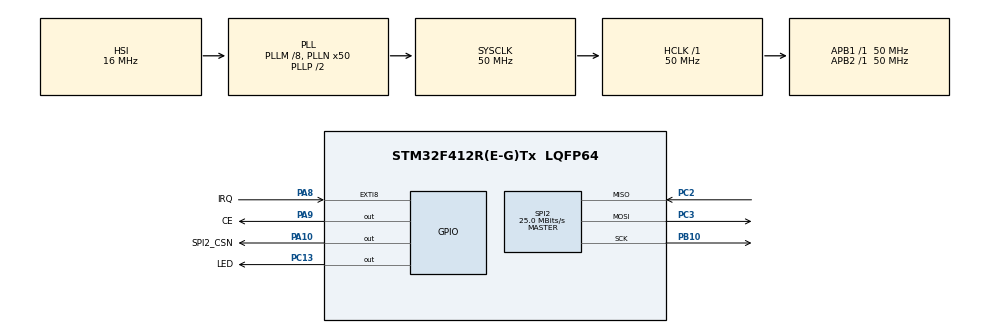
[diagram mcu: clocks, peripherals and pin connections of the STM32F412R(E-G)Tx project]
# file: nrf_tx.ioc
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Mcu.Family=STM32F4
Mcu.Name=STM32F412R(E-G)Tx
Mcu.Package=LQFP64
NVIC.EXTI9_5_IRQn=true\:0\:0\:false\:false\:true\:true\:true\:true
NVIC.PriorityGroup=NVIC_PRIORITYGROUP_4
PA10.GPIO_Label=SPI2_CSN
PA10.GPIO_Speed=GPIO_SPEED_FREQ_HIGH
PA10.PinState=GPIO_PIN_SET
PA10.Signal=GPIO_Output
PA8.GPIO_Label=IRQ
PA8.GPIO_ModeDefaultEXTI=GPIO_MODE_IT_FALLING
PA8.Signal=GPXTI8
PA9.GPIO_Label=CE
PA9.Signal=GPIO_Output
PB10.Mode=Full_Duplex_Master
PB10.Signal=SPI2_SCK
PC13.GPIO_Label=LED
PC13.PinState=GPIO_PIN_SET
PC13.Signal=GPIO_Output
PC14-OSC32_IN.Mode=LSE-External-Oscillator
PC14-OSC32_IN.Signal=RCC_OSC32_IN
PC15-OSC32_OUT.Mode=LSE-External-Oscillator
PC15-OSC32_OUT.Signal=RCC_OSC32_OUT
PC2.Mode=Full_Duplex_Master
PC2.Signal=SPI2_MISO
PC3.Mode=Full_Duplex_Master
PC3.Signal=SPI2_MOSI
PH0\ -\ OSC_IN.Mode=HSE-External-Oscillator
PH0\ -\ OSC_IN.Signal=RCC_OSC_IN
PH1\ -\ OSC_OUT.Mode=HSE-External-Oscillator
PH1\ -\ OSC_OUT.Signal=RCC_OSC_OUT
ProjectManager.HeapSize=0x200
ProjectManager.StackSize=0x400
ProjectManager.TargetToolchain=STM32CubeIDE
RCC.AHBFreq_Value=50000000
RCC.APB1Freq_Value=50000000
RCC.APB1TimFreq_Value=50000000
RCC.APB2Freq_Value=50000000
RCC.APB2TimFreq_Value=50000000
RCC.CortexFreq_Value=50000000
RCC.HCLKFreq_Value=50000000
RCC.PLLM=8
RCC.PLLN=50
RCC.SYSCLKFreq_VALUE=50000000
RCC.SYSCLKSource=RCC_SYSCLKSOURCE_PLLCLK
RCC.USBFreq_Value=50000000
RCC.VCOOutputFreq_Value=100000000
SPI2.BaudRatePrescaler=SPI_BAUDRATEPRESCALER_2
SPI2.CalculateBaudRate=25.0 MBits/s
SPI2.Direction=SPI_DIRECTION_2LINES
SPI2.Mode=SPI_MODE_MASTER
SPI2.VirtualType=VM_MASTER
board=custom

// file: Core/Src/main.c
/* USER CODE BEGIN Header */
/**
  ******************************************************************************
  * @file           : main.c
  * @brief          : Main program body
  ******************************************************************************
  * @attention
  *
  * Copyright (c) 2025 STMicroelectronics.
  * All rights reserved.
  *
  * This software is licensed under terms that can be found in the LICENSE file
  * in the root directory of this software component.
  * If no LICENSE file comes with this software, it is provided AS-IS.
  *
  ******************************************************************************
  */
/* USER CODE END Header */
#include "main.h"

/* USER CODE BEGIN Includes */
#include "nrf_tx.h"
/* USER CODE END Includes */

/* USER CODE BEGIN PD */
#include <stdbool.h>

/* User Configurations */
#define NRF24L01P_SPI                     (&hspi2)

#define NRF24L01P_SPI_CS_PIN_PORT         GPIOA
#define NRF24L01P_SPI_CS_PIN_NUMBER       GPIO_PIN_10

#define NRF24L01P_CE_PIN_PORT             GPIOA
#define NRF24L01P_CE_PIN_NUMBER           GPIO_PIN_9

#define NRF24L01P_IRQ_PIN_PORT            GPIOA
#define NRF24L01P_IRQ_PIN_NUMBER          GPIO_PIN_8

#define NRF24L01P_PAYLOAD_LENGTH          8     // 1 - 32bytes

/* nRF24L01+ typedefs */
typedef uint8_t count;
typedef uint8_t widths;
typedef uint8_t length;
typedef uint16_t delay;
typedef uint16_t channel;

typedef enum
{
    _250kbps = 2,
    _1Mbps   = 0,
    _2Mbps   = 1
} air_data_rate;

typedef enum
{
    _0dBm  = 3,
    _6dBm  = 2,
    _12dBm = 1,
    _18dBm = 0
} output_power;
/* nRF24L01+ Commands */
#define NRF24L01P_CMD_R_REGISTER                  0b00000000
#define NRF24L01P_CMD_W_REGISTER                  0b00100000
#define NRF24L01P_CMD_R_RX_PAYLOAD                0b01100001
#define NRF24L01P_CMD_W_TX_PAYLOAD                0b10100000
#define NRF24L01P_CMD_FLUSH_TX                    0b11100001
#define NRF24L01P_CMD_FLUSH_RX                    0b11100010
#define NRF24L01P_CMD_REUSE_TX_PL                 0b11100011
#define NRF24L01P_CMD_R_RX_PL_WID                 0b01100000
#define NRF24L01P_CMD_W_ACK_PAYLOAD               0b10101000
#define NRF24L01P_CMD_W_TX_PAYLOAD_NOACK          0b10110000
#define NRF24L01P_CMD_NOP                         0b11111111

/* nRF24L01+ Registers */
#define NRF24L01P_REG_CONFIG            0x00
#define NRF24L01P_REG_EN_AA             0x01
#define NRF24L01P_REG_EN_RXADDR         0x02
#define NRF24L01P_REG_SETUP_AW          0x03
#define NRF24L01P_REG_SETUP_RETR        0x04
#define NRF24L01P_REG_RF_CH             0x05
#define NRF24L01P_REG_RF_SETUP          0x06
#define NRF24L01P_REG_STATUS            0x07
#define NRF24L01P_REG_OBSERVE_TX        0x08    // Read-Only
#define NRF24L01P_REG_RPD               0x09    // Read-Only
#define NRF24L01P_REG_RX_ADDR_P0        0x0A
#define NRF24L01P_REG_RX_ADDR_P1        0x0B
#define NRF24L01P_REG_RX_ADDR_P2        0x0C
#define NRF24L01P_REG_RX_ADDR_P3        0x0D
#define NRF24L01P_REG_RX_ADDR_P4        0x0E
#define NRF24L01P_REG_RX_ADDR_P5        0x0F
#define NRF24L01P_REG_TX_ADDR           0x10
#define NRF24L01P_REG_RX_PW_P0          0x11
#define NRF24L01P_REG_RX_PW_P1          0x12
#define NRF24L01P_REG_RX_PW_P2          0x13
#define NRF24L01P_REG_RX_PW_P3          0x14
#define NRF24L01P_REG_RX_PW_P4          0x15
#define NRF24L01P_REG_RX_PW_P5          0x16
#define NRF24L01P_REG_FIFO_STATUS       0x17
#define NRF24L01P_REG_DYNPD             0x1C
#define NRF24L01P_REG_FEATURE           0x1D

/* USER CODE END PD */

SPI_HandleTypeDef hspi2;
uint8_t tx_data[8] = {0,1,2,3,4,5,6,7};

void SystemClock_Config(void);
static void MX_GPIO_Init(void);
static void MX_SPI2_Init(void);

/* USER CODE BEGIN PFP */
void HAL_GPIO_EXTI_Callback(uint16_t GPIO_Pin);
/* Low-level nRF24L01+ SPI helpers */
static void cs_high(void);
static void cs_low(void);
static void ce_high(void);
static void ce_low(void);
static uint8_t read_register(uint8_t reg);
static uint8_t write_register(uint8_t reg, uint8_t value);

/* nRF24L01+ sub functions (defined later) */
void     nrf24l01p_reset(void);
void     nrf24l01p_prx_mode(void);
void     nrf24l01p_ptx_mode(void);
uint8_t  nrf24l01p_read_rx_fifo(uint8_t* rx_payload);
uint8_t  nrf24l01p_write_tx_fifo(const uint8_t* tx_payload);
void     nrf24l01p_flush_rx_fifo(void);
void     nrf24l01p_flush_tx_fifo(void);
uint8_t  nrf24l01p_get_status(void);
uint8_t  nrf24l01p_get_fifo_status(void);
void     nrf24l01p_rx_set_payload_widths(widths bytes);
void     nrf24l01p_clear_rx_dr(void);
void     nrf24l01p_clear_tx_ds(void);
void     nrf24l01p_clear_max_rt(void);
void     nrf24l01p_power_up(void);
void     nrf24l01p_power_down(void);
void     nrf24l01p_set_crc_length(length bytes);
void     nrf24l01p_set_address_widths(widths bytes);
void     nrf24l01p_auto_retransmit_count(count cnt);
void     nrf24l01p_auto_retransmit_delay(delay us);
void     nrf24l01p_set_rf_channel(channel MHz);
void     nrf24l01p_set_rf_tx_output_power(output_power dBm);
void     nrf24l01p_set_rf_air_data_rate(air_data_rate bps);

/* public APIs you call from main */
void     nrf24l01p_rx_init(channel MHz, air_data_rate bps);
void     nrf24l01p_tx_init(channel MHz, air_data_rate bps);
void     nrf24l01p_rx_receive(uint8_t* rx_payload);
void     nrf24l01p_tx_transmit(uint8_t* tx_payload);
void     nrf24l01p_tx_irq(void);

/* USER CODE END PFP */

int main(void)
{

  /* MCU Configuration--------------------------------------------------------*/

  /* Reset of all peripherals, Initializes the Flash interface and the Systick. */
  HAL_Init();

  /* Configure the system clock */
  SystemClock_Config();

  /* Initialize all configured peripherals */
  MX_GPIO_Init();
  MX_SPI2_Init();
  /* USER CODE BEGIN 2 */
  nrf24l01p_tx_init(2500, _1Mbps);
  /* USER CODE END 2 */

  /* Infinite loop */
  while (1)
  {

    /* USER CODE BEGIN 3 */
	for(int i = 0; i < 8; i++){
		tx_data[i]++;
	}

	nrf24l01p_tx_transmit(tx_data);
	HAL_Delay(100);
  }
  /* USER CODE END 3 */
}

void SystemClock_Config(void)
{
  RCC_OscInitTypeDef RCC_OscInitStruct = {0};
  RCC_ClkInitTypeDef RCC_ClkInitStruct = {0};

  /** Configure the main internal regulator output voltage
  */
  __HAL_RCC_PWR_CLK_ENABLE();
  __HAL_PWR_VOLTAGESCALING_CONFIG(PWR_REGULATOR_VOLTAGE_SCALE1);

  /** Initializes the RCC Oscillators according to the specified parameters
  * in the RCC_OscInitTypeDef structure.
  */
  RCC_OscInitStruct.OscillatorType = RCC_OSCILLATORTYPE_HSI;
  RCC_OscInitStruct.HSIState = RCC_HSI_ON;
  RCC_OscInitStruct.HSICalibrationValue = RCC_HSICALIBRATION_DEFAULT;
  RCC_OscInitStruct.PLL.PLLState = RCC_PLL_ON;
  RCC_OscInitStruct.PLL.PLLSource = RCC_PLLSOURCE_HSI;
  RCC_OscInitStruct.PLL.PLLM = 8;
  RCC_OscInitStruct.PLL.PLLN = 50;
  RCC_OscInitStruct.PLL.PLLP = RCC_PLLP_DIV2;
  RCC_OscInitStruct.PLL.PLLQ = 2;
  RCC_OscInitStruct.PLL.PLLR = 2;
  if (HAL_RCC_OscConfig(&RCC_OscInitStruct) != HAL_OK)
  {
    Error_Handler();
  }

  /** Initializes the CPU, AHB and APB buses clocks
  */
  RCC_ClkInitStruct.ClockType = RCC_CLOCKTYPE_HCLK|RCC_CLOCKTYPE_SYSCLK
                              |RCC_CLOCKTYPE_PCLK1|RCC_CLOCKTYPE_PCLK2;
  RCC_ClkInitStruct.SYSCLKSource = RCC_SYSCLKSOURCE_PLLCLK;
  RCC_ClkInitStruct.AHBCLKDivider = RCC_SYSCLK_DIV1;
  RCC_ClkInitStruct.APB1CLKDivider = RCC_HCLK_DIV1;
  RCC_ClkInitStruct.APB2CLKDivider = RCC_HCLK_DIV1;

  if (HAL_RCC_ClockConfig(&RCC_ClkInitStruct, FLASH_LATENCY_1) != HAL_OK)
  {
    Error_Handler();
  }
}

static void MX_SPI2_Init(void)
{

  /* SPI2 parameter configuration*/
  hspi2.Instance = SPI2;
  hspi2.Init.Mode = SPI_MODE_MASTER;
  hspi2.Init.Direction = SPI_DIRECTION_2LINES;
  hspi2.Init.DataSize = SPI_DATASIZE_8BIT;
  hspi2.Init.CLKPolarity = SPI_POLARITY_LOW;
  hspi2.Init.CLKPhase = SPI_PHASE_1EDGE;
  hspi2.Init.NSS = SPI_NSS_SOFT;
  hspi2.Init.BaudRatePrescaler = SPI_BAUDRATEPRESCALER_2;
  hspi2.Init.FirstBit = SPI_FIRSTBIT_MSB;
  hspi2.Init.TIMode = SPI_TIMODE_DISABLE;
  hspi2.Init.CRCCalculation = SPI_CRCCALCULATION_DISABLE;
  hspi2.Init.CRCPolynomial = 10;
  if (HAL_SPI_Init(&hspi2) != HAL_OK)
  {
    Error_Handler();
  }

}

static void MX_GPIO_Init(void)
{
  GPIO_InitTypeDef GPIO_InitStruct = {0};

  /* GPIO Ports Clock Enable */
  __HAL_RCC_GPIOC_CLK_ENABLE();
  __HAL_RCC_GPIOH_CLK_ENABLE();
  __HAL_RCC_GPIOB_CLK_ENABLE();
  __HAL_RCC_GPIOA_CLK_ENABLE();

  /*Configure GPIO pin Output Level */
  HAL_GPIO_WritePin(LED_GPIO_Port, LED_Pin, GPIO_PIN_SET);

  /*Configure GPIO pin Output Level */
  HAL_GPIO_WritePin(CE_GPIO_Port, CE_Pin, GPIO_PIN_RESET);

  /*Configure GPIO pin Output Level */
  HAL_GPIO_WritePin(SPI2_CSN_GPIO_Port, SPI2_CSN_Pin, GPIO_PIN_SET);

  /*Configure GPIO pin : LED_Pin */
  GPIO_InitStruct.Pin = LED_Pin;
  GPIO_InitStruct.Mode = GPIO_MODE_OUTPUT_PP;
  GPIO_InitStruct.Pull = GPIO_NOPULL;
  GPIO_InitStruct.Speed = GPIO_SPEED_FREQ_LOW;
  HAL_GPIO_Init(LED_GPIO_Port, &GPIO_InitStruct);

  /*Configure GPIO pin : IRQ_Pin */
  GPIO_InitStruct.Pin = IRQ_Pin;
  GPIO_InitStruct.Mode = GPIO_MODE_IT_FALLING;
  GPIO_InitStruct.Pull = GPIO_NOPULL;
  HAL_GPIO_Init(IRQ_GPIO_Port, &GPIO_InitStruct);

  /*Configure GPIO pin : CE_Pin */
  GPIO_InitStruct.Pin = CE_Pin;
  GPIO_InitStruct.Mode = GPIO_MODE_OUTPUT_PP;
  GPIO_InitStruct.Pull = GPIO_NOPULL;
  GPIO_InitStruct.Speed = GPIO_SPEED_FREQ_LOW;
  HAL_GPIO_Init(CE_GPIO_Port, &GPIO_InitStruct);

  /*Configure GPIO pin : SPI2_CSN_Pin */
  GPIO_InitStruct.Pin = SPI2_CSN_Pin;
  GPIO_InitStruct.Mode = GPIO_MODE_OUTPUT_PP;
  GPIO_InitStruct.Pull = GPIO_NOPULL;
  GPIO_InitStruct.Speed = GPIO_SPEED_FREQ_HIGH;
  HAL_GPIO_Init(SPI2_CSN_GPIO_Port, &GPIO_InitStruct);

  /* EXTI interrupt init*/
  HAL_NVIC_SetPriority(EXTI9_5_IRQn, 0, 0);
  HAL_NVIC_EnableIRQ(EXTI9_5_IRQn);

}

/* USER CODE BEGIN 4 */
void HAL_GPIO_EXTI_Callback(uint16_t GPIO_Pin)
{
	if(GPIO_Pin == NRF24L01P_IRQ_PIN_NUMBER)
	{
		nrf24l01p_tx_irq();
	}

}

static void cs_high()
{
    HAL_GPIO_WritePin(NRF24L01P_SPI_CS_PIN_PORT, NRF24L01P_SPI_CS_PIN_NUMBER, GPIO_PIN_SET);
}

static void cs_low()
{
    HAL_GPIO_WritePin(NRF24L01P_SPI_CS_PIN_PORT, NRF24L01P_SPI_CS_PIN_NUMBER, GPIO_PIN_RESET);
}

static void ce_high()
{
    HAL_GPIO_WritePin(NRF24L01P_CE_PIN_PORT, NRF24L01P_CE_PIN_NUMBER, GPIO_PIN_SET);
}

static void ce_low()
{
    HAL_GPIO_WritePin(NRF24L01P_CE_PIN_PORT, NRF24L01P_CE_PIN_NUMBER, GPIO_PIN_RESET);
}

static uint8_t read_register(uint8_t reg)
{
    uint8_t command = NRF24L01P_CMD_R_REGISTER | reg;
    uint8_t status;
    uint8_t read_val;

    cs_low();
    HAL_SPI_TransmitReceive(NRF24L01P_SPI, &command, &status, 1, 2000);
    HAL_SPI_Receive(NRF24L01P_SPI, &read_val, 1, 2000);
    cs_high();

    return read_val;
}

static uint8_t write_register(uint8_t reg, uint8_t value)
{
    uint8_t command = NRF24L01P_CMD_W_REGISTER | reg;
    uint8_t status;
    uint8_t write_val = value;

    cs_low();
    HAL_SPI_TransmitReceive(NRF24L01P_SPI, &command, &status, 1, 2000);
    HAL_SPI_Transmit(NRF24L01P_SPI, &write_val, 1, 2000);
    cs_high();

    return write_val;
}

/* nRF24L01+ Main Functions */
void nrf24l01p_rx_init(channel MHz, air_data_rate bps)
{
    nrf24l01p_reset();

    nrf24l01p_prx_mode();
    nrf24l01p_power_up();

    nrf24l01p_rx_set_payload_widths(NRF24L01P_PAYLOAD_LENGTH);

    nrf24l01p_set_rf_channel(MHz);
    nrf24l01p_set_rf_air_data_rate(bps);
    nrf24l01p_set_rf_tx_output_power(_0dBm);

    nrf24l01p_set_crc_length(1);
    nrf24l01p_set_address_widths(5);

    nrf24l01p_auto_retransmit_count(3);
    nrf24l01p_auto_retransmit_delay(250);

    ce_high();
}

void nrf24l01p_tx_init(channel MHz, air_data_rate bps)
{
    nrf24l01p_reset();

    nrf24l01p_ptx_mode();
    nrf24l01p_power_up();

    nrf24l01p_set_rf_channel(MHz);
    nrf24l01p_set_rf_air_data_rate(bps);
    nrf24l01p_set_rf_tx_output_power(_0dBm);

    nrf24l01p_set_crc_length(1);
    nrf24l01p_set_address_widths(5);

    nrf24l01p_auto_retransmit_count(3);
    nrf24l01p_auto_retransmit_delay(250);

    ce_high();
}

void nrf24l01p_rx_receive(uint8_t* rx_payload)
{
    nrf24l01p_read_rx_fifo(rx_payload);
    nrf24l01p_clear_rx_dr();

    HAL_GPIO_TogglePin(GPIOC, GPIO_PIN_13);
}

void nrf24l01p_tx_transmit(uint8_t* tx_payload)
{
    nrf24l01p_write_tx_fifo(tx_payload);
}

void nrf24l01p_tx_irq()
{
    uint8_t tx_ds = nrf24l01p_get_status();
    tx_ds &= 0x20;

    if(tx_ds)
    {
        // TX_DS
        HAL_GPIO_TogglePin(GPIOC, GPIO_PIN_13);
        nrf24l01p_clear_tx_ds();
    }

    else
    {
        // MAX_RT
        HAL_GPIO_WritePin(GPIOC, GPIO_PIN_13, SET);
        nrf24l01p_clear_max_rt();
    }
}

/* nRF24L01+ Sub Functions */
void nrf24l01p_reset()
{
    // Reset pins
    cs_high();
    ce_low();

    // Reset registers
    write_register(NRF24L01P_REG_CONFIG, 0x08);
    write_register(NRF24L01P_REG_EN_AA, 0x3F);
    write_register(NRF24L01P_REG_EN_RXADDR, 0x03);
    write_register(NRF24L01P_REG_SETUP_AW, 0x03);
    write_register(NRF24L01P_REG_SETUP_RETR, 0x03);
    write_register(NRF24L01P_REG_RF_CH, 0x02);
    write_register(NRF24L01P_REG_RF_SETUP, 0x07);
    write_register(NRF24L01P_REG_STATUS, 0x7E);
    write_register(NRF24L01P_REG_RX_PW_P0, 0x00);
    write_register(NRF24L01P_REG_RX_PW_P0, 0x00);
    write_register(NRF24L01P_REG_RX_PW_P1, 0x00);
    write_register(NRF24L01P_REG_RX_PW_P2, 0x00);
    write_register(NRF24L01P_REG_RX_PW_P3, 0x00);
    write_register(NRF24L01P_REG_RX_PW_P4, 0x00);
    write_register(NRF24L01P_REG_RX_PW_P5, 0x00);
    write_register(NRF24L01P_REG_FIFO_STATUS, 0x11);
    write_register(NRF24L01P_REG_DYNPD, 0x00);
    write_register(NRF24L01P_REG_FEATURE, 0x00);

    // Reset FIFO
    nrf24l01p_flush_rx_fifo();
    nrf24l01p_flush_tx_fifo();
}

void nrf24l01p_prx_mode()
{
    uint8_t new_config = read_register(NRF24L01P_REG_CONFIG);
    new_config |= 1 << 0;

    write_register(NRF24L01P_REG_CONFIG, new_config);
}

void nrf24l01p_ptx_mode()
{
    uint8_t new_config = read_register(NRF24L01P_REG_CONFIG);
    new_config &= 0xFE;

    write_register(NRF24L01P_REG_CONFIG, new_config);
}

uint8_t nrf24l01p_read_rx_fifo(uint8_t* rx_payload)
{
    uint8_t command = NRF24L01P_CMD_R_RX_PAYLOAD;
    uint8_t status;

    cs_low();
    HAL_SPI_TransmitReceive(NRF24L01P_SPI, &command, &status, 1, 2000);
    HAL_SPI_Receive(NRF24L01P_SPI, rx_payload, NRF24L01P_PAYLOAD_LENGTH, 2000);
    cs_high();

    return status;
}

uint8_t nrf24l01p_write_tx_fifo(const uint8_t* tx_payload)
{
    uint8_t command = NRF24L01P_CMD_W_TX_PAYLOAD;
    uint8_t status;

    cs_low();
    HAL_SPI_TransmitReceive(NRF24L01P_SPI, &command, &status, 1, 2000);
    HAL_SPI_Transmit(NRF24L01P_SPI, (uint8_t*)tx_payload, NRF24L01P_PAYLOAD_LENGTH, 2000);
    cs_high();

    return status;
}

void nrf24l01p_flush_rx_fifo()
{
    uint8_t command = NRF24L01P_CMD_FLUSH_RX;
    uint8_t status;

    cs_low();
    HAL_SPI_TransmitReceive(NRF24L01P_SPI, &command, &status, 1, 2000);
    cs_high();
}

void nrf24l01p_flush_tx_fifo()
{
    uint8_t command = NRF24L01P_CMD_FLUSH_TX;
    uint8_t status;

    cs_low();
    HAL_SPI_TransmitReceive(NRF24L01P_SPI, &command, &status, 1, 2000);
    cs_high();
}

uint8_t nrf24l01p_get_status()
{
    uint8_t command = NRF24L01P_CMD_NOP;
    uint8_t status;

    cs_low();
    HAL_SPI_TransmitReceive(NRF24L01P_SPI, &command, &status, 1, 2000);
    cs_high();

    return status;
}

uint8_t nrf24l01p_get_fifo_status()
{
    return read_register(NRF24L01P_REG_FIFO_STATUS);
}

void nrf24l01p_rx_set_payload_widths(widths bytes)
{
    write_register(NRF24L01P_REG_RX_PW_P0, bytes);
}

void nrf24l01p_clear_rx_dr()
{
    uint8_t new_status = nrf24l01p_get_status();
    new_status |= 0x40;

    write_register(NRF24L01P_REG_STATUS, new_status);
}

void nrf24l01p_clear_tx_ds()
{
    uint8_t new_status = nrf24l01p_get_status();
    new_status |= 0x20;

    write_register(NRF24L01P_REG_STATUS, new_status);
}

void nrf24l01p_clear_max_rt()
{
    uint8_t new_status = nrf24l01p_get_status();
    new_status |= 0x10;

    write_register(NRF24L01P_REG_STATUS, new_status);
}

void nrf24l01p_power_up()
{
    uint8_t new_config = read_register(NRF24L01P_REG_CONFIG);
    new_config |= 1 << 1;

    write_register(NRF24L01P_REG_CONFIG, new_config);
}

void nrf24l01p_power_down()
{
    uint8_t new_config = read_register(NRF24L01P_REG_CONFIG);
    new_config &= 0xFD;

    write_register(NRF24L01P_REG_CONFIG, new_config);
}

void nrf24l01p_set_crc_length(length bytes)
{
    uint8_t new_config = read_register(NRF24L01P_REG_CONFIG);

    switch(bytes)
    {
        // CRCO bit in CONFIG resiger set 0
        case 1:
            new_config &= 0xFB;
            break;
        // CRCO bit in CONFIG resiger set 1
        case 2:
            new_config |= 1 << 2;
            break;
    }

    write_register(NRF24L01P_REG_CONFIG, new_config);
}

void nrf24l01p_set_address_widths(widths bytes)
{
    write_register(NRF24L01P_REG_SETUP_AW, bytes - 2);
}

void nrf24l01p_auto_retransmit_count(count cnt)
{
    uint8_t new_setup_retr = read_register(NRF24L01P_REG_SETUP_RETR);

    // Reset ARC register 0
    new_setup_retr |= 0xF0;
    new_setup_retr |= cnt;
    write_register(NRF24L01P_REG_SETUP_RETR, new_setup_retr);
}

void nrf24l01p_auto_retransmit_delay(delay us)
{
    uint8_t new_setup_retr = read_register(NRF24L01P_REG_SETUP_RETR);

    // Reset ARD register 0
    new_setup_retr |= 0x0F;
    new_setup_retr |= ((us / 250) - 1) << 4;
    write_register(NRF24L01P_REG_SETUP_RETR, new_setup_retr);
}

void nrf24l01p_set_rf_channel(channel MHz)
{
	uint16_t new_rf_ch = MHz - 2400;
    write_register(NRF24L01P_REG_RF_CH, new_rf_ch);
}

void nrf24l01p_set_rf_tx_output_power(output_power dBm)
{
    uint8_t new_rf_setup = read_register(NRF24L01P_REG_RF_SETUP) & 0xF9;
    new_rf_setup |= (dBm << 1);

    write_register(NRF24L01P_REG_RF_SETUP, new_rf_setup);
}

void nrf24l01p_set_rf_air_data_rate(air_data_rate bps)
{
    // Set value to 0
    uint8_t new_rf_setup = read_register(NRF24L01P_REG_RF_SETUP) & 0xD7;

    switch(bps)
    {
        case _1Mbps:
            break;
        case _2Mbps:
            new_rf_setup |= 1 << 3;
            break;
        case _250kbps:
            new_rf_setup |= 1 << 5;
            break;
    }
    write_register(NRF24L01P_REG_RF_SETUP, new_rf_setup);
}

/* USER CODE END 4 */

void Error_Handler(void)
{
  __disable_irq();
  while (1)
  {
  }
}
